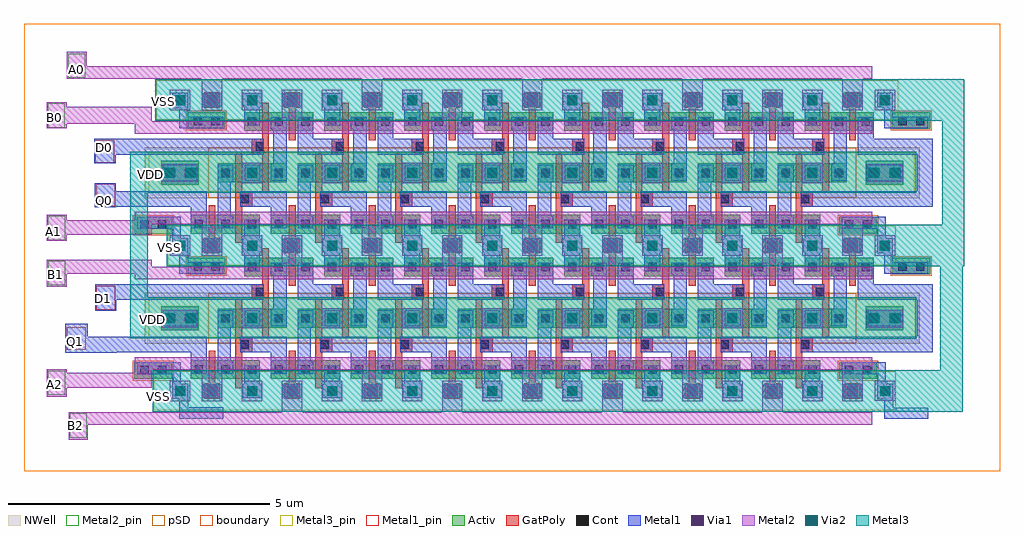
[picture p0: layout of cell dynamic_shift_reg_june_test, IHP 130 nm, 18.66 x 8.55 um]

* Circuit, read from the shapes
.subckt dynamic_shift_reg_june_test A0 A1 A2 B0 B1 B2 D0 D1 Q0 Q1 VDD VSS
XM1 n1 A2 Q1 VSS sg13_lv_nmos w=0.36u l=0.13u
XM2 n2 A1 Q0 VSS sg13_lv_nmos w=0.36u l=0.13u
XM3 VSS n3 n1 VSS sg13_lv_nmos w=0.36u l=0.13u
XM4 VSS n4 n2 VSS sg13_lv_nmos w=0.36u l=0.13u
XM5 n5 D1 VSS VSS sg13_lv_nmos w=0.36u l=0.13u
XM6 n6 D0 VSS VSS sg13_lv_nmos w=0.36u l=0.13u
XM7 n7 B2 n3 VSS sg13_lv_nmos w=0.36u l=0.13u
XM8 n8 B1 n5 VSS sg13_lv_nmos w=0.36u l=0.13u
XM9 n9 B1 n4 VSS sg13_lv_nmos w=0.36u l=0.13u
XM10 n10 B0 n6 VSS sg13_lv_nmos w=0.36u l=0.13u
XM11 VSS n11 n7 VSS sg13_lv_nmos w=0.36u l=0.13u
XM12 VSS n12 n9 VSS sg13_lv_nmos w=0.36u l=0.13u
XM13 n13 n8 VSS VSS sg13_lv_nmos w=0.36u l=0.13u
XM14 n14 n10 VSS VSS sg13_lv_nmos w=0.36u l=0.13u
XM15 n15 A2 n11 VSS sg13_lv_nmos w=0.36u l=0.13u
XM16 n16 A1 n13 VSS sg13_lv_nmos w=0.36u l=0.13u
XM17 n17 A1 n12 VSS sg13_lv_nmos w=0.36u l=0.13u
XM18 n18 A0 n14 VSS sg13_lv_nmos w=0.36u l=0.13u
XM19 VSS n19 n15 VSS sg13_lv_nmos w=0.36u l=0.13u
XM20 VSS n20 n17 VSS sg13_lv_nmos w=0.36u l=0.13u
XM21 n21 n16 VSS VSS sg13_lv_nmos w=0.36u l=0.13u
XM22 n22 n18 VSS VSS sg13_lv_nmos w=0.36u l=0.13u
XM23 n23 B2 n19 VSS sg13_lv_nmos w=0.36u l=0.13u
XM24 n24 B1 n21 VSS sg13_lv_nmos w=0.36u l=0.13u
XM25 n25 B1 n20 VSS sg13_lv_nmos w=0.36u l=0.13u
XM26 n26 B0 n22 VSS sg13_lv_nmos w=0.36u l=0.13u
XM27 VSS n27 n23 VSS sg13_lv_nmos w=0.36u l=0.13u
XM28 VSS n28 n25 VSS sg13_lv_nmos w=0.36u l=0.13u
XM29 n29 n24 VSS VSS sg13_lv_nmos w=0.36u l=0.13u
XM30 n30 n26 VSS VSS sg13_lv_nmos w=0.36u l=0.13u
XM31 n31 A2 n27 VSS sg13_lv_nmos w=0.36u l=0.13u
XM32 n32 A1 n29 VSS sg13_lv_nmos w=0.36u l=0.13u
XM33 n33 A1 n28 VSS sg13_lv_nmos w=0.36u l=0.13u
XM34 n34 A0 n30 VSS sg13_lv_nmos w=0.36u l=0.13u
XM35 VSS n35 n31 VSS sg13_lv_nmos w=0.36u l=0.13u
XM36 VSS n36 n33 VSS sg13_lv_nmos w=0.36u l=0.13u
XM37 n37 n32 VSS VSS sg13_lv_nmos w=0.36u l=0.13u
XM38 n38 n34 VSS VSS sg13_lv_nmos w=0.36u l=0.13u
XM39 n39 B2 n35 VSS sg13_lv_nmos w=0.36u l=0.13u
XM40 n40 B1 n37 VSS sg13_lv_nmos w=0.36u l=0.13u
XM41 n41 B1 n36 VSS sg13_lv_nmos w=0.36u l=0.13u
XM42 n42 B0 n38 VSS sg13_lv_nmos w=0.36u l=0.13u
XM43 VSS n43 n39 VSS sg13_lv_nmos w=0.36u l=0.13u
XM44 VSS n44 n41 VSS sg13_lv_nmos w=0.36u l=0.13u
XM45 n45 n40 VSS VSS sg13_lv_nmos w=0.36u l=0.13u
XM46 n46 n42 VSS VSS sg13_lv_nmos w=0.36u l=0.13u
XM47 n47 A2 n43 VSS sg13_lv_nmos w=0.36u l=0.13u
XM48 n48 A1 n45 VSS sg13_lv_nmos w=0.36u l=0.13u
XM49 n49 A1 n44 VSS sg13_lv_nmos w=0.36u l=0.13u
XM50 n50 A0 n46 VSS sg13_lv_nmos w=0.36u l=0.13u
XM51 VSS n51 n47 VSS sg13_lv_nmos w=0.36u l=0.13u
XM52 VSS n52 n49 VSS sg13_lv_nmos w=0.36u l=0.13u
XM53 n53 n48 VSS VSS sg13_lv_nmos w=0.36u l=0.13u
XM54 n54 n50 VSS VSS sg13_lv_nmos w=0.36u l=0.13u
XM55 n55 B2 n51 VSS sg13_lv_nmos w=0.36u l=0.13u
XM56 n56 B1 n53 VSS sg13_lv_nmos w=0.36u l=0.13u
XM57 n57 B1 n52 VSS sg13_lv_nmos w=0.36u l=0.13u
XM58 n58 B0 n54 VSS sg13_lv_nmos w=0.36u l=0.13u
XM59 VSS n59 n55 VSS sg13_lv_nmos w=0.36u l=0.13u
XM60 VSS n60 n57 VSS sg13_lv_nmos w=0.36u l=0.13u
XM61 n61 n56 VSS VSS sg13_lv_nmos w=0.36u l=0.13u
XM62 n62 n58 VSS VSS sg13_lv_nmos w=0.36u l=0.13u
XM63 n59 A1 n61 VSS sg13_lv_nmos w=0.36u l=0.13u
XM64 n60 A0 n62 VSS sg13_lv_nmos w=0.36u l=0.13u
XM65 VDD n3 n1 VDD sg13_lv_pmos w=0.36u l=0.13u
XM66 VDD n4 n2 VDD sg13_lv_pmos w=0.36u l=0.13u
XM67 n5 D1 VDD VDD sg13_lv_pmos w=0.36u l=0.13u
XM68 n6 D0 VDD VDD sg13_lv_pmos w=0.36u l=0.13u
XM69 VDD n11 n7 VDD sg13_lv_pmos w=0.36u l=0.13u
XM70 VDD n12 n9 VDD sg13_lv_pmos w=0.36u l=0.13u
XM71 n13 n8 VDD VDD sg13_lv_pmos w=0.36u l=0.13u
XM72 n14 n10 VDD VDD sg13_lv_pmos w=0.36u l=0.13u
XM73 VDD n19 n15 VDD sg13_lv_pmos w=0.36u l=0.13u
XM74 VDD n20 n17 VDD sg13_lv_pmos w=0.36u l=0.13u
XM75 n21 n16 VDD VDD sg13_lv_pmos w=0.36u l=0.13u
XM76 n22 n18 VDD VDD sg13_lv_pmos w=0.36u l=0.13u
XM77 VDD n27 n23 VDD sg13_lv_pmos w=0.36u l=0.13u
XM78 VDD n28 n25 VDD sg13_lv_pmos w=0.36u l=0.13u
XM79 n29 n24 VDD VDD sg13_lv_pmos w=0.36u l=0.13u
XM80 n30 n26 VDD VDD sg13_lv_pmos w=0.36u l=0.13u
XM81 VDD n35 n31 VDD sg13_lv_pmos w=0.36u l=0.13u
XM82 VDD n36 n33 VDD sg13_lv_pmos w=0.36u l=0.13u
XM83 n37 n32 VDD VDD sg13_lv_pmos w=0.36u l=0.13u
XM84 n38 n34 VDD VDD sg13_lv_pmos w=0.36u l=0.13u
XM85 VDD n43 n39 VDD sg13_lv_pmos w=0.36u l=0.13u
XM86 VDD n44 n41 VDD sg13_lv_pmos w=0.36u l=0.13u
XM87 n45 n40 VDD VDD sg13_lv_pmos w=0.36u l=0.13u
XM88 n46 n42 VDD VDD sg13_lv_pmos w=0.36u l=0.13u
XM89 VDD n51 n47 VDD sg13_lv_pmos w=0.36u l=0.13u
XM90 VDD n52 n49 VDD sg13_lv_pmos w=0.36u l=0.13u
XM91 n53 n48 VDD VDD sg13_lv_pmos w=0.36u l=0.13u
XM92 n54 n50 VDD VDD sg13_lv_pmos w=0.36u l=0.13u
XM93 VDD n59 n55 VDD sg13_lv_pmos w=0.36u l=0.13u
XM94 VDD n60 n57 VDD sg13_lv_pmos w=0.36u l=0.13u
XM95 n61 n56 VDD VDD sg13_lv_pmos w=0.36u l=0.13u
XM96 n62 n58 VDD VDD sg13_lv_pmos w=0.36u l=0.13u
.ends

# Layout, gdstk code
import gdstk
lib = gdstk.Library(unit=1e-6, precision=1e-09)
def R(c, l, rs):  # rectangles x0, y0, x1, y1
    for r in rs: c.add(gdstk.rectangle(r[:2], r[2:], *l))
def A(c, l, x, y, w, h, nx, ny, dx, dy):  # array of equal rectangles
    R(c, l, [(x+i*dx, y+j*dy, x+i*dx+w, y+j*dy+h) for i in range(nx) for j in range(ny)])
def P(c, l, *ps):  # polygons
    for p in ps: c.add(gdstk.Polygon(p, *l))
Activ = (1, 0)
GatPoly = (5, 0)
Cont = (6, 0)
Metal1 = (8, 0)
Metal1_pin = (8, 2)
Metal2 = (10, 0)
Metal2_pin = (10, 2)
pSD = (14, 0)
Via1 = (19, 0)
Via2 = (29, 0)
Metal3 = (30, 0)
Metal3_pin = (30, 2)
NWell = (31, 0)
boundary = (189, 4)

dynamic_shift_reg_june_t = lib.new_cell('dynamic_shift_reg_june_test')
A(dynamic_shift_reg_june_t, Activ, 3.19, 1.765, 1.32, 0.36, 8, 2, 1.53, 2.78)
A(dynamic_shift_reg_june_t, Activ, 3.7, 2.745, 1.32, 0.36, 8, 2, 1.53, 2.78)
A(dynamic_shift_reg_june_t, Activ, 4.21, 3.725, 1.32, 0.36, 8, 2, 1.53, 2.78)
R(dynamic_shift_reg_june_t, Activ, [(2.11,1.765,2.83,2.085), (15.58,1.765,16.3,2.085), (2.62,2.695,3.34,3.155), (16.09,2.695,16.81,3.155), (3.13,3.765,3.85,4.085), (16.6,3.765,17.32,4.085), (2.11,4.545,2.83,4.865), (15.58,4.545,16.3,4.865), (2.62,5.475,3.34,5.935), (16.09,5.475,16.81,5.935), (3.13,6.545,3.85,6.865), (16.6,6.545,17.32,6.865)])
A(dynamic_shift_reg_june_t, GatPoly, 3.53, 1.685, 0.13, 0.62, 8, 2, 1.53, 2.78)
A(dynamic_shift_reg_june_t, GatPoly, 5.06, 3.545, 0.13, 0.62, 8, 2, 1.53, 2.78)
P(dynamic_shift_reg_june_t, GatPoly, [(3.445,1.385),(3.445,1.685),(3.745,1.685),(3.745,1.385),(3.66,1.385)],
  [(3.445,4.165),(3.445,4.465),(3.745,4.465),(3.745,4.165),(3.66,4.165)],
  [(3.445,6.945),(3.445,7.245),(3.745,7.245),(3.745,6.945),(3.66,6.945)],
  [(6.505,1.385),(6.505,1.685),(6.805,1.685),(6.805,1.385),(6.72,1.385)],
  [(6.505,4.165),(6.505,4.465),(6.805,4.465),(6.805,4.165),(6.72,4.165)],
  [(6.505,6.945),(6.505,7.245),(6.805,7.245),(6.805,6.945),(6.72,6.945)],
  [(9.565,1.385),(9.565,1.685),(9.865,1.685),(9.865,1.385),(9.78,1.385)],
  [(9.565,4.165),(9.565,4.465),(9.865,4.465),(9.865,4.165),(9.78,4.165)],
  [(9.565,6.945),(9.565,7.245),(9.865,7.245),(9.865,6.945),(9.78,6.945)],
  [(12.625,1.385),(12.625,1.685),(12.925,1.685),(12.925,1.385),(12.84,1.385)],
  [(12.625,4.165),(12.625,4.465),(12.925,4.465),(12.925,4.165),(12.84,4.165)],
  [(12.625,6.945),(12.625,7.245),(12.925,7.245),(12.925,6.945),(12.84,6.945)],
  [(15.685,1.385),(15.685,1.685),(15.985,1.685),(15.985,1.385),(15.9,1.385)],
  [(15.685,4.165),(15.685,4.465),(15.985,4.465),(15.985,4.165),(15.9,4.165)],
  [(15.685,6.945),(15.685,7.245),(15.985,7.245),(15.985,6.945),(15.9,6.945)],
  [(5.57,1.585),(5.57,3.285),(5.7,3.285),(5.7,2.575),(5.895,2.575),(5.895,2.275),(5.7,2.275),(5.7,1.585)],
  [(6.08,2.565),(6.08,3.275),(5.885,3.275),(5.885,3.575),(6.08,3.575),(6.08,4.265),(6.21,4.265),(6.21,2.565)],
  [(4.55,2.565),(4.55,3.275),(4.355,3.275),(4.355,3.575),(4.55,3.575),(4.55,4.265),(4.68,4.265),(4.68,2.565)],
  [(4.04,1.585),(4.04,3.285),(4.17,3.285),(4.17,2.575),(4.365,2.575),(4.365,2.275),(4.17,2.275),(4.17,1.585)],
  [(5.57,4.365),(5.57,6.065),(5.7,6.065),(5.7,5.355),(5.895,5.355),(5.895,5.055),(5.7,5.055),(5.7,4.365)],
  [(6.08,5.345),(6.08,6.055),(5.885,6.055),(5.885,6.355),(6.08,6.355),(6.08,7.045),(6.21,7.045),(6.21,5.345)],
  [(4.55,5.345),(4.55,6.055),(4.355,6.055),(4.355,6.355),(4.55,6.355),(4.55,7.045),(4.68,7.045),(4.68,5.345)],
  [(4.04,4.365),(4.04,6.065),(4.17,6.065),(4.17,5.355),(4.365,5.355),(4.365,5.055),(4.17,5.055),(4.17,4.365)],
  [(8.63,1.585),(8.63,3.285),(8.76,3.285),(8.76,2.575),(8.955,2.575),(8.955,2.275),(8.76,2.275),(8.76,1.585)],
  [(9.14,2.565),(9.14,3.275),(8.945,3.275),(8.945,3.575),(9.14,3.575),(9.14,4.265),(9.27,4.265),(9.27,2.565)],
  [(7.61,2.565),(7.61,3.275),(7.415,3.275),(7.415,3.575),(7.61,3.575),(7.61,4.265),(7.74,4.265),(7.74,2.565)],
  [(7.1,1.585),(7.1,3.285),(7.23,3.285),(7.23,2.575),(7.425,2.575),(7.425,2.275),(7.23,2.275),(7.23,1.585)],
  [(8.63,4.365),(8.63,6.065),(8.76,6.065),(8.76,5.355),(8.955,5.355),(8.955,5.055),(8.76,5.055),(8.76,4.365)],
  [(9.14,5.345),(9.14,6.055),(8.945,6.055),(8.945,6.355),(9.14,6.355),(9.14,7.045),(9.27,7.045),(9.27,5.345)],
  [(7.61,5.345),(7.61,6.055),(7.415,6.055),(7.415,6.355),(7.61,6.355),(7.61,7.045),(7.74,7.045),(7.74,5.345)],
  [(7.1,4.365),(7.1,6.065),(7.23,6.065),(7.23,5.355),(7.425,5.355),(7.425,5.055),(7.23,5.055),(7.23,4.365)],
  [(11.69,1.585),(11.69,3.285),(11.82,3.285),(11.82,2.575),(12.015,2.575),(12.015,2.275),(11.82,2.275),(11.82,1.585)],
  [(12.2,2.565),(12.2,3.275),(12.005,3.275),(12.005,3.575),(12.2,3.575),(12.2,4.265),(12.33,4.265),(12.33,2.565)],
  [(10.67,2.565),(10.67,3.275),(10.475,3.275),(10.475,3.575),(10.67,3.575),(10.67,4.265),(10.8,4.265),(10.8,2.565)],
  [(10.16,1.585),(10.16,3.285),(10.29,3.285),(10.29,2.575),(10.485,2.575),(10.485,2.275),(10.29,2.275),(10.29,1.585)],
  [(11.69,4.365),(11.69,6.065),(11.82,6.065),(11.82,5.355),(12.015,5.355),(12.015,5.055),(11.82,5.055),(11.82,4.365)],
  [(12.2,5.345),(12.2,6.055),(12.005,6.055),(12.005,6.355),(12.2,6.355),(12.2,7.045),(12.33,7.045),(12.33,5.345)],
  [(10.67,5.345),(10.67,6.055),(10.475,6.055),(10.475,6.355),(10.67,6.355),(10.67,7.045),(10.8,7.045),(10.8,5.345)],
  [(10.16,4.365),(10.16,6.065),(10.29,6.065),(10.29,5.355),(10.485,5.355),(10.485,5.055),(10.29,5.055),(10.29,4.365)],
  [(14.75,1.585),(14.75,3.285),(14.88,3.285),(14.88,2.575),(15.075,2.575),(15.075,2.275),(14.88,2.275),(14.88,1.585)],
  [(15.26,2.565),(15.26,3.275),(15.065,3.275),(15.065,3.575),(15.26,3.575),(15.26,4.265),(15.39,4.265),(15.39,2.565)],
  [(13.73,2.565),(13.73,3.275),(13.535,3.275),(13.535,3.575),(13.73,3.575),(13.73,4.265),(13.86,4.265),(13.86,2.565)],
  [(13.22,1.585),(13.22,3.285),(13.35,3.285),(13.35,2.575),(13.545,2.575),(13.545,2.275),(13.35,2.275),(13.35,1.585)],
  [(14.75,4.365),(14.75,6.065),(14.88,6.065),(14.88,5.355),(15.075,5.355),(15.075,5.055),(14.88,5.055),(14.88,4.365)],
  [(15.26,5.345),(15.26,6.055),(15.065,6.055),(15.065,6.355),(15.26,6.355),(15.26,7.045),(15.39,7.045),(15.39,5.345)],
  [(13.73,5.345),(13.73,6.055),(13.535,6.055),(13.535,6.355),(13.73,6.355),(13.73,7.045),(13.86,7.045),(13.86,5.345)],
  [(13.22,4.365),(13.22,6.065),(13.35,6.065),(13.35,5.355),(13.545,5.355),(13.545,5.055),(13.35,5.055),(13.35,4.365)],
  [(4.975,1.385),(4.975,1.685),(5.275,1.685),(5.275,1.385),(5.19,1.385)],
  [(4.975,4.165),(4.975,4.465),(5.275,4.465),(5.275,4.165),(5.19,4.165)],
  [(4.975,6.945),(4.975,7.245),(5.275,7.245),(5.275,6.945),(5.19,6.945)],
  [(8.035,1.385),(8.035,1.685),(8.335,1.685),(8.335,1.385),(8.25,1.385)],
  [(8.035,4.165),(8.035,4.465),(8.335,4.465),(8.335,4.165),(8.25,4.165)],
  [(8.035,6.945),(8.035,7.245),(8.335,7.245),(8.335,6.945),(8.25,6.945)],
  [(11.095,1.385),(11.095,1.685),(11.395,1.685),(11.395,1.385),(11.31,1.385)],
  [(11.095,4.165),(11.095,4.465),(11.395,4.465),(11.395,4.165),(11.31,4.165)],
  [(11.095,6.945),(11.095,7.245),(11.395,7.245),(11.395,6.945),(11.31,6.945)],
  [(14.155,1.385),(14.155,1.685),(14.455,1.685),(14.455,1.385),(14.37,1.385)],
  [(14.155,4.165),(14.155,4.465),(14.455,4.465),(14.455,4.165),(14.37,4.165)],
  [(14.155,6.945),(14.155,7.245),(14.455,7.245),(14.455,6.945),(14.37,6.945)])
A(dynamic_shift_reg_june_t, Cont, 3.515, 1.455, 0.16, 0.16, 9, 3, 1.53, 2.78)
A(dynamic_shift_reg_june_t, Cont, 3.26, 1.865, 0.16, 0.16, 24, 2, 0.51, 2.78)
A(dynamic_shift_reg_june_t, Cont, 4.135, 2.345, 0.16, 0.16, 8, 2, 1.53, 2.78)
A(dynamic_shift_reg_june_t, Cont, 3.77, 2.845, 0.16, 0.16, 24, 2, 0.51, 2.78)
A(dynamic_shift_reg_june_t, Cont, 4.425, 3.345, 0.16, 0.16, 8, 2, 1.53, 2.78)
A(dynamic_shift_reg_june_t, Cont, 4.28, 3.825, 0.16, 0.16, 24, 2, 0.51, 2.78)
R(dynamic_shift_reg_june_t, Cont, [(2.22,1.855,2.38,2.015), (2.56,1.855,2.72,2.015), (15.69,1.855,15.85,2.015), (16.03,1.855,16.19,2.015), (2.73,2.845,2.89,3.005), (3.07,2.845,3.23,3.005), (16.2,2.845,16.36,3.005), (16.54,2.845,16.7,3.005), (3.24,3.835,3.4,3.995), (3.58,3.835,3.74,3.995), (16.71,3.835,16.87,3.995), (17.05,3.835,17.21,3.995), (2.22,4.635,2.38,4.795), (2.56,4.635,2.72,4.795), (15.69,4.635,15.85,4.795), (16.03,4.635,16.19,4.795), (2.73,5.625,2.89,5.785), (3.07,5.625,3.23,5.785), (16.2,5.625,16.36,5.785), (16.54,5.625,16.7,5.785), (3.24,6.615,3.4,6.775), (3.58,6.615,3.74,6.775), (16.71,6.615,16.87,6.775), (17.05,6.615,17.21,6.775)])
A(dynamic_shift_reg_june_t, Metal1, 3.415, 1.405, 0.36, 0.26, 17, 3, 0.765, 2.78)
A(dynamic_shift_reg_june_t, Metal1, 4.21, 1.665, 0.3, 0.36, 8, 2, 1.53, 2.16)
A(dynamic_shift_reg_june_t, Metal1, 4.215, 2.775, 0.3, 0.3, 8, 2, 1.53, 2.78)
A(dynamic_shift_reg_june_t, Metal1, 4.21, 4.445, 0.3, 0.36, 8, 2, 1.53, 2.16)
R(dynamic_shift_reg_june_t, Metal1, [(14.845,2.275,16.075,2.575), (2.66,2.775,3.3,3.075), (16.13,2.775,16.77,3.075), (14.845,5.055,16.075,5.355), (2.66,5.555,3.3,5.855), (16.13,5.555,16.77,5.855)])
P(dynamic_shift_reg_june_t, Metal1, [(1.345,5.885),(1.345,6.355),(1.75,6.355),(4.585,6.355),(4.585,6.055),(1.75,6.055),(1.75,5.885)],
  [(1.35,5.05),(1.35,5.51),(1.755,5.51),(1.755,5.355),(2.605,5.355),(2.605,5.055),(1.755,5.055),(1.755,5.05)],
  [(1.365,3.065),(1.365,3.575),(1.76,3.575),(4.585,3.575),(4.585,3.275),(1.76,3.275),(1.76,3.065)],
  [(0.79,2.27),(0.79,2.82),(1.22,2.82),(1.22,2.575),(2.605,2.575),(2.605,2.275),(1.765,2.275),(1.765,2.27)],
  [(6.76,3.275),(6.76,3.985),(7.06,3.985),(7.06,3.575),(7.645,3.575),(7.645,3.275)],
  [(5.23,1.865),(5.23,3.075),(5.53,3.075),(5.53,2.755),(5.485,2.755),(5.485,2.095),(5.53,2.095),(5.53,1.865)],
  [(5.23,3.275),(5.23,3.985),(5.53,3.985),(5.53,3.575),(6.115,3.575),(6.115,3.275)],
  [(6.25,2.775),(6.25,3.095),(6.295,3.095),(6.295,3.755),(6.25,3.755),(6.25,3.985),(6.55,3.985),(6.55,2.775)],
  [(4.72,2.775),(4.72,3.095),(4.765,3.095),(4.765,3.755),(4.72,3.755),(4.72,3.985),(5.02,3.985),(5.02,2.775)],
  [(4.72,1.865),(4.72,2.275),(4.135,2.275),(4.135,2.575),(5.02,2.575),(5.02,1.865)],
  [(3.7,1.865),(3.7,3.075),(4,3.075),(4,2.755),(3.955,2.755),(3.955,2.095),(4,2.095),(4,1.865)],
  [(3.19,1.865),(3.19,2.275),(2.605,2.275),(2.605,2.575),(3.49,2.575),(3.49,1.865)],
  [(6.76,6.055),(6.76,6.765),(7.06,6.765),(7.06,6.355),(7.645,6.355),(7.645,6.055)],
  [(5.23,4.645),(5.23,5.855),(5.53,5.855),(5.53,5.535),(5.485,5.535),(5.485,4.875),(5.53,4.875),(5.53,4.645)],
  [(5.23,6.055),(5.23,6.765),(5.53,6.765),(5.53,6.355),(6.115,6.355),(6.115,6.055)],
  [(6.25,5.555),(6.25,5.875),(6.295,5.875),(6.295,6.535),(6.25,6.535),(6.25,6.765),(6.55,6.765),(6.55,5.555)],
  [(4.72,5.555),(4.72,5.875),(4.765,5.875),(4.765,6.535),(4.72,6.535),(4.72,6.765),(5.02,6.765),(5.02,5.555)],
  [(4.72,4.645),(4.72,5.055),(4.135,5.055),(4.135,5.355),(5.02,5.355),(5.02,4.645)],
  [(3.7,4.645),(3.7,5.855),(4,5.855),(4,5.535),(3.955,5.535),(3.955,4.875),(4,4.875),(4,4.645)],
  [(3.19,4.645),(3.19,5.055),(2.605,5.055),(2.605,5.355),(3.49,5.355),(3.49,4.645)],
  [(9.82,3.275),(9.82,3.985),(10.12,3.985),(10.12,3.575),(10.705,3.575),(10.705,3.275)],
  [(8.29,1.865),(8.29,3.075),(8.59,3.075),(8.59,2.755),(8.545,2.755),(8.545,2.095),(8.59,2.095),(8.59,1.865)],
  [(8.29,3.275),(8.29,3.985),(8.59,3.985),(8.59,3.575),(9.175,3.575),(9.175,3.275)],
  [(9.31,2.775),(9.31,3.095),(9.355,3.095),(9.355,3.755),(9.31,3.755),(9.31,3.985),(9.61,3.985),(9.61,2.775)],
  [(7.78,2.775),(7.78,3.095),(7.825,3.095),(7.825,3.755),(7.78,3.755),(7.78,3.985),(8.08,3.985),(8.08,2.775)],
  [(7.78,1.865),(7.78,2.275),(7.195,2.275),(7.195,2.575),(8.08,2.575),(8.08,1.865)],
  [(6.76,1.865),(6.76,3.075),(7.06,3.075),(7.06,2.755),(7.015,2.755),(7.015,2.095),(7.06,2.095),(7.06,1.865)],
  [(6.25,1.865),(6.25,2.275),(5.665,2.275),(5.665,2.575),(6.55,2.575),(6.55,1.865)],
  [(9.82,6.055),(9.82,6.765),(10.12,6.765),(10.12,6.355),(10.705,6.355),(10.705,6.055)],
  [(8.29,4.645),(8.29,5.855),(8.59,5.855),(8.59,5.535),(8.545,5.535),(8.545,4.875),(8.59,4.875),(8.59,4.645)],
  [(8.29,6.055),(8.29,6.765),(8.59,6.765),(8.59,6.355),(9.175,6.355),(9.175,6.055)],
  [(9.31,5.555),(9.31,5.875),(9.355,5.875),(9.355,6.535),(9.31,6.535),(9.31,6.765),(9.61,6.765),(9.61,5.555)],
  [(7.78,5.555),(7.78,5.875),(7.825,5.875),(7.825,6.535),(7.78,6.535),(7.78,6.765),(8.08,6.765),(8.08,5.555)],
  [(7.78,4.645),(7.78,5.055),(7.195,5.055),(7.195,5.355),(8.08,5.355),(8.08,4.645)],
  [(6.76,4.645),(6.76,5.855),(7.06,5.855),(7.06,5.535),(7.015,5.535),(7.015,4.875),(7.06,4.875),(7.06,4.645)],
  [(6.25,4.645),(6.25,5.055),(5.665,5.055),(5.665,5.355),(6.55,5.355),(6.55,4.645)],
  [(12.88,3.275),(12.88,3.985),(13.18,3.985),(13.18,3.575),(13.765,3.575),(13.765,3.275)],
  [(11.35,1.865),(11.35,3.075),(11.65,3.075),(11.65,2.755),(11.605,2.755),(11.605,2.095),(11.65,2.095),(11.65,1.865)],
  [(11.35,3.275),(11.35,3.985),(11.65,3.985),(11.65,3.575),(12.235,3.575),(12.235,3.275)],
  [(12.37,2.775),(12.37,3.095),(12.415,3.095),(12.415,3.755),(12.37,3.755),(12.37,3.985),(12.67,3.985),(12.67,2.775)],
  [(10.84,2.775),(10.84,3.095),(10.885,3.095),(10.885,3.755),(10.84,3.755),(10.84,3.985),(11.14,3.985),(11.14,2.775)],
  [(10.84,1.865),(10.84,2.275),(10.255,2.275),(10.255,2.575),(11.14,2.575),(11.14,1.865)],
  [(9.82,1.865),(9.82,3.075),(10.12,3.075),(10.12,2.755),(10.075,2.755),(10.075,2.095),(10.12,2.095),(10.12,1.865)],
  [(9.31,1.865),(9.31,2.275),(8.725,2.275),(8.725,2.575),(9.61,2.575),(9.61,1.865)],
  [(12.88,6.055),(12.88,6.765),(13.18,6.765),(13.18,6.355),(13.765,6.355),(13.765,6.055)],
  [(11.35,4.645),(11.35,5.855),(11.65,5.855),(11.65,5.535),(11.605,5.535),(11.605,4.875),(11.65,4.875),(11.65,4.645)],
  [(11.35,6.055),(11.35,6.765),(11.65,6.765),(11.65,6.355),(12.235,6.355),(12.235,6.055)],
  [(12.37,5.555),(12.37,5.875),(12.415,5.875),(12.415,6.535),(12.37,6.535),(12.37,6.765),(12.67,6.765),(12.67,5.555)],
  [(10.84,5.555),(10.84,5.875),(10.885,5.875),(10.885,6.535),(10.84,6.535),(10.84,6.765),(11.14,6.765),(11.14,5.555)],
  [(10.84,4.645),(10.84,5.055),(10.255,5.055),(10.255,5.355),(11.14,5.355),(11.14,4.645)],
  [(9.82,4.645),(9.82,5.855),(10.12,5.855),(10.12,5.535),(10.075,5.535),(10.075,4.875),(10.12,4.875),(10.12,4.645)],
  [(9.31,4.645),(9.31,5.055),(8.725,5.055),(8.725,5.355),(9.61,5.355),(9.61,4.645)],
  [(15.94,3.275),(15.94,3.985),(16.24,3.985),(16.24,3.575),(16.825,3.575),(16.825,3.275)],
  [(14.41,1.865),(14.41,3.075),(14.71,3.075),(14.71,2.755),(14.665,2.755),(14.665,2.095),(14.71,2.095),(14.71,1.865)],
  [(14.41,3.275),(14.41,3.985),(14.71,3.985),(14.71,3.575),(15.295,3.575),(15.295,3.275)],
  [(15.43,2.775),(15.43,3.095),(15.475,3.095),(15.475,3.755),(15.43,3.755),(15.43,3.985),(15.73,3.985),(15.73,2.775)],
  [(13.9,2.775),(13.9,3.095),(13.945,3.095),(13.945,3.755),(13.9,3.755),(13.9,3.985),(14.2,3.985),(14.2,2.775)],
  [(13.9,1.865),(13.9,2.275),(13.315,2.275),(13.315,2.575),(14.2,2.575),(14.2,1.865)],
  [(12.88,1.865),(12.88,3.075),(13.18,3.075),(13.18,2.755),(13.135,2.755),(13.135,2.095),(13.18,2.095),(13.18,1.865)],
  [(12.37,1.865),(12.37,2.275),(11.785,2.275),(11.785,2.575),(12.67,2.575),(12.67,1.865)],
  [(15.94,6.055),(15.94,6.765),(16.24,6.765),(16.24,6.355),(16.825,6.355),(16.825,6.055)],
  [(14.41,4.645),(14.41,5.855),(14.71,5.855),(14.71,5.535),(14.665,5.535),(14.665,4.875),(14.71,4.875),(14.71,4.645)],
  [(14.41,6.055),(14.41,6.765),(14.71,6.765),(14.71,6.355),(15.295,6.355),(15.295,6.055)],
  [(15.43,5.555),(15.43,5.875),(15.475,5.875),(15.475,6.535),(15.43,6.535),(15.43,6.765),(15.73,6.765),(15.73,5.555)],
  [(13.9,5.555),(13.9,5.875),(13.945,5.875),(13.945,6.535),(13.9,6.535),(13.9,6.765),(14.2,6.765),(14.2,5.555)],
  [(13.9,4.645),(13.9,5.055),(13.315,5.055),(13.315,5.355),(14.2,5.355),(14.2,4.645)],
  [(12.88,4.645),(12.88,5.855),(13.18,5.855),(13.18,5.535),(13.135,5.535),(13.135,4.875),(13.18,4.875),(13.18,4.645)],
  [(12.37,4.645),(12.37,5.055),(11.785,5.055),(11.785,5.355),(12.67,5.355),(12.67,4.645)],
  [(16.075,5.055),(16.075,5.355),(17.07,5.355),(17.07,6.055),(16.825,6.055),(16.825,6.355),(17.365,6.355),(17.365,5.055)],
  [(16.075,2.275),(16.075,2.575),(17.07,2.575),(17.07,3.275),(16.825,3.275),(16.825,3.575),(17.365,3.575),(17.365,2.275)],
  [(16.305,4.445),(16.305,4.635),(15.63,4.635),(15.63,4.865),(16.47,4.865),(16.47,4.455),(16.605,4.455),(16.605,4.445)],
  [(16.31,1.665),(16.31,1.855),(15.635,1.855),(15.635,2.085),(16.475,2.085),(16.475,1.675),(16.61,1.675),(16.61,1.665)],
  [(2.835,4.445),(2.835,4.635),(2.16,4.635),(2.16,4.865),(3,4.865),(3,4.455),(3.135,4.455),(3.135,4.445)],
  [(16.44,6.56),(16.44,6.96),(16.305,6.96),(16.305,7.24),(16.605,7.24),(16.605,6.775),(17.28,6.775),(17.28,6.56)],
  [(16.44,3.78),(16.44,4.165),(16.305,4.165),(16.305,4.445),(16.605,4.445),(16.605,3.995),(17.28,3.995),(17.28,3.78)],
  [(2.835,4.445),(2.835,4.635),(2.16,4.635),(2.16,4.865),(3,4.865),(3,4.455),(3.135,4.455),(3.135,4.445)],
  [(2.835,1.665),(2.835,1.855),(2.16,1.855),(2.16,2.085),(3,2.085),(3,1.675),(3.135,1.675),(3.135,1.665)],
  [(2.97,6.56),(2.97,6.94),(2.835,6.94),(2.835,7.24),(3.135,7.24),(3.135,6.775),(3.81,6.775),(3.81,6.56)],
  [(2.97,3.78),(2.97,4.16),(2.835,4.16),(2.835,4.445),(3.135,4.445),(3.135,3.995),(3.81,3.995),(3.81,3.78)],
  [(2.97,1.005),(2.97,1.385),(2.835,1.385),(2.835,1.665),(3.135,1.665),(3.135,1.22),(3.81,1.22),(3.81,1.005)],
  [(16.445,1),(16.445,1.38),(16.31,1.38),(16.31,1.665),(16.61,1.665),(16.61,1.215),(17.285,1.215),(17.285,1)])
R(dynamic_shift_reg_june_t, Metal1_pin, [(0.82,2.325,1.18,2.755), (1.385,3.085,1.745,3.55), (1.38,5.065,1.74,5.495), (1.365,5.9,1.725,6.33)])
A(dynamic_shift_reg_june_t, Metal2, 3.215, 0.89, 0.76, 0.24, 9, 2, 1.53, 1.05)
A(dynamic_shift_reg_june_t, Metal2, 3.975, 0.89, 0.77, 0.24, 8, 2, 1.53, 1.05)
A(dynamic_shift_reg_june_t, Metal2, 4.93, 1.13, 0.39, 0.6, 4, 3, 3.06, 2.78)
A(dynamic_shift_reg_june_t, Metal2, 3.4, 1.34, 0.39, 0.6, 5, 3, 3.06, 2.78)
A(dynamic_shift_reg_june_t, Metal2, 4.165, 1.34, 0.39, 0.39, 8, 3, 1.53, 2.78)
A(dynamic_shift_reg_june_t, Metal2, 3.215, 3.67, 0.76, 0.24, 9, 2, 1.53, 1.05)
A(dynamic_shift_reg_june_t, Metal2, 3.975, 3.67, 0.77, 0.24, 8, 2, 1.53, 1.05)
A(dynamic_shift_reg_june_t, Metal2, 3.215, 6.45, 0.76, 0.24, 9, 2, 1.53, 1.05)
A(dynamic_shift_reg_june_t, Metal2, 3.975, 6.45, 0.77, 0.24, 8, 2, 1.53, 1.05)
R(dynamic_shift_reg_june_t, Metal2, [(2.79,1.34,3.18,1.73), (16.265,1.345,16.655,1.735), (4.165,2.73,4.555,3.12), (4.165,2.73,4.555,3.12), (5.695,2.73,6.085,3.12), (5.695,2.73,6.085,3.12), (7.225,2.73,7.615,3.12), (7.225,2.73,7.615,3.12), (8.755,2.73,9.145,3.12), (8.755,2.73,9.145,3.12), (10.285,2.73,10.675,3.12), (10.285,2.73,10.675,3.12), (11.815,2.73,12.205,3.12), (11.815,2.73,12.205,3.12), (13.345,2.73,13.735,3.12), (13.345,2.73,13.735,3.12), (14.875,2.73,15.265,3.12), (14.875,2.73,15.265,3.12), (2.635,2.745,3.325,3.09), (16.105,2.745,16.795,3.09), (2.785,4.12,3.175,4.51), (16.26,4.12,16.65,4.51), (4.165,5.51,4.555,5.9), (4.165,5.51,4.555,5.9), (5.695,5.51,6.085,5.9), (5.695,5.51,6.085,5.9), (7.225,5.51,7.615,5.9), (7.225,5.51,7.615,5.9), (8.755,5.51,9.145,5.9), (8.755,5.51,9.145,5.9), (10.285,5.51,10.675,5.9), (10.285,5.51,10.675,5.9), (11.815,5.51,12.205,5.9), (11.815,5.51,12.205,5.9), (13.345,5.51,13.735,5.9), (13.345,5.51,13.735,5.9), (14.875,5.51,15.265,5.9), (14.875,5.51,15.265,5.9), (2.635,5.53,3.325,5.875), (16.105,5.53,16.795,5.875), (2.79,6.9,3.18,7.29), (16.26,6.9,16.65,7.29)])
P(dynamic_shift_reg_june_t, Metal2, [(0.435,4.405),(0.435,4.585),(0.435,4.9),(0.815,4.9),(0.815,4.795),(2.115,4.795),(2.115,4.96),(3.215,4.96),(3.215,4.72),(2.44,4.72),(2.44,4.52),(0.82,4.52),(0.82,4.405)],
  [(2.115,6.45),(2.115,6.645),(0.815,6.645),(0.815,6.56),(0.435,6.56),(0.435,6.825),(0.435,7.05),(0.82,7.05),(0.82,6.965),(2.44,6.965),(2.44,6.69),(3.215,6.69),(3.215,6.45)],
  [(0.435,1.425),(0.435,1.805),(0.435,1.95),(0.815,1.95),(0.815,1.88),(2.115,1.88),(2.115,2.18),(3.215,2.18),(3.215,1.94),(2.44,1.94),(2.44,1.6),(0.82,1.6),(0.82,1.425)],
  [(0.435,3.53),(0.435,4.045),(0.82,4.045),(2.44,4.045),(2.44,3.91),(3.215,3.91),(3.215,3.67),(2.115,3.67),(2.115,3.78),(0.82,3.78),(0.82,3.53)],
  [(0.855,0.605),(0.855,1.13),(1.215,1.13),(3.215,1.13),(3.215,0.89),(1.215,0.89),(1.215,0.605)],
  [(0.815,7.5),(0.815,8.015),(1.2,8.015),(1.2,7.74),(3.215,7.74),(3.215,7.5),(1.2,7.5)])
R(dynamic_shift_reg_june_t, Metal2_pin, [(0.87,0.64,1.2,1.105), (0.455,1.46,0.785,1.925), (0.46,3.555,0.79,4.02), (0.455,4.42,0.785,4.885), (0.45,6.57,0.78,7.035), (0.845,7.52,1.175,7.985)])
A(dynamic_shift_reg_june_t, pSD, 3.52, 2.445, 3.21, 0.96, 4, 2, 3.06, 2.78)
R(dynamic_shift_reg_june_t, pSD, [(2.08,1.735,2.86,2.115), (15.55,1.735,16.33,2.115), (3.1,3.735,3.88,4.115), (16.57,3.735,17.35,4.115), (2.08,4.515,2.86,4.895), (15.55,4.515,16.33,4.895), (3.1,6.515,3.88,6.895), (16.57,6.515,17.35,6.895)])
A(dynamic_shift_reg_june_t, Via1, 2.89, 1.44, 0.19, 0.19, 1, 3, 0, 2.78)
A(dynamic_shift_reg_june_t, Via1, 3.5, 1.44, 0.19, 0.19, 17, 3, 0.765, 2.78)
A(dynamic_shift_reg_june_t, Via1, 4.265, 2.83, 0.19, 0.19, 8, 2, 1.53, 2.78)
R(dynamic_shift_reg_june_t, Via1, [(16.365,1.44,16.555,1.63), (2.68,2.83,2.87,3.02), (3.09,2.83,3.28,3.02), (16.15,2.83,16.34,3.02), (16.56,2.83,16.75,3.02), (16.36,4.22,16.55,4.41), (2.68,5.61,2.87,5.8), (3.09,5.61,3.28,5.8), (16.15,5.61,16.34,5.8), (16.56,5.61,16.75,5.8), (16.36,7,16.55,7.19)])
A(dynamic_shift_reg_june_t, Via2, 2.89, 1.44, 0.19, 0.19, 1, 3, 0, 2.78)
A(dynamic_shift_reg_june_t, Via2, 4.265, 1.44, 0.19, 0.19, 8, 5, 1.53, 1.39)
R(dynamic_shift_reg_june_t, Via2, [(16.365,1.44,16.555,1.63), (2.68,2.83,2.87,3.02), (3.09,2.83,3.28,3.02), (16.15,2.83,16.34,3.02), (16.56,2.83,16.75,3.02), (16.36,4.22,16.55,4.41), (2.68,5.61,2.87,5.8), (3.09,5.61,3.28,5.8), (16.15,5.61,16.34,5.8), (16.56,5.61,16.75,5.8), (16.36,7,16.55,7.19)])
A(dynamic_shift_reg_june_t, Metal3, 3.215, 1.14, 0.76, 0.79, 9, 3, 1.53, 2.78)
A(dynamic_shift_reg_june_t, Metal3, 3.975, 1.14, 0.77, 0.79, 8, 3, 1.53, 2.78)
A(dynamic_shift_reg_june_t, Metal3, 3.595, 2.54, 3.06, 0.79, 4, 2, 3.06, 2.78)
R(dynamic_shift_reg_june_t, Metal3, [(2.465,1.14,3.215,1.93), (16.215,1.14,16.69,1.93), (16.69,1.14,17.94,1.93), (17.515,1.93,17.94,3.92), (15.835,2.535,17.05,3.325), (2.03,2.54,2.365,6.11), (2.365,2.54,3.595,3.33), (2.73,3.92,3.215,4.71), (16.215,3.92,16.725,4.71), (16.725,3.92,17.975,4.71), (17.55,4.71,17.975,6.7), (2.365,5.32,3.595,6.11), (15.835,5.32,17.05,6.11), (2.51,6.7,3.215,7.49), (16.215,6.7,16.725,7.49), (16.725,6.7,17.975,7.49)])
R(dynamic_shift_reg_june_t, Metal3_pin, [(2.48,1.165,16.66,1.915), (2.385,2.56,17.035,3.31), (2.75,3.94,16.66,4.69), (2.38,5.34,17.03,6.09), (2.53,6.72,16.71,7.47), (2.53,6.72,16.71,7.47)])
A(dynamic_shift_reg_june_t, NWell, 3.39, 2.435, 3.47, 0.98, 4, 2, 3.06, 2.78)
R(dynamic_shift_reg_june_t, NWell, [(2.31,2.435,3.65,3.415), (15.78,2.435,17.12,3.415), (2.31,5.215,3.65,6.195), (15.78,5.215,17.12,6.195)])
R(dynamic_shift_reg_june_t, boundary, [(0,0,18.655,8.555)])
dynamic_shift_reg_june_t.add(gdstk.Label('D1', (1.525,3.295), layer=8, texttype=25))
dynamic_shift_reg_june_t.add(gdstk.Label('Q1', (0.975,2.485), layer=8, texttype=25))
dynamic_shift_reg_june_t.add(gdstk.Label('D0', (1.535,6.195), layer=8, texttype=25))
dynamic_shift_reg_june_t.add(gdstk.Label('Q0', (1.535,5.175), layer=8, texttype=25))
dynamic_shift_reg_june_t.add(gdstk.Label('VSS', (2.66,7.06), layer=30, texttype=25))
dynamic_shift_reg_june_t.add(gdstk.Label('VSS', (2.575,1.43), layer=30, texttype=25))
dynamic_shift_reg_june_t.add(gdstk.Label('VSS', (2.79,4.28), layer=30, texttype=25))
dynamic_shift_reg_june_t.add(gdstk.Label('VDD', (2.42,5.67), layer=30, texttype=25))
dynamic_shift_reg_june_t.add(gdstk.Label('VDD', (2.45,2.9), layer=30, texttype=25))
dynamic_shift_reg_june_t.add(gdstk.Label('B0', (0.59,6.765), layer=10, texttype=25))
dynamic_shift_reg_june_t.add(gdstk.Label('A1', (0.565,4.585), layer=10, texttype=25))
dynamic_shift_reg_june_t.add(gdstk.Label('A2', (0.585,1.66), layer=10, texttype=25))
dynamic_shift_reg_june_t.add(gdstk.Label('B1', (0.61,3.76), layer=10, texttype=25))
dynamic_shift_reg_june_t.add(gdstk.Label('B2', (0.99,0.87), layer=10, texttype=25))
dynamic_shift_reg_june_t.add(gdstk.Label('A0', (1,7.685), layer=10, texttype=25))

lib.write_gds('dynamic_shift_reg_june_test.gds')
